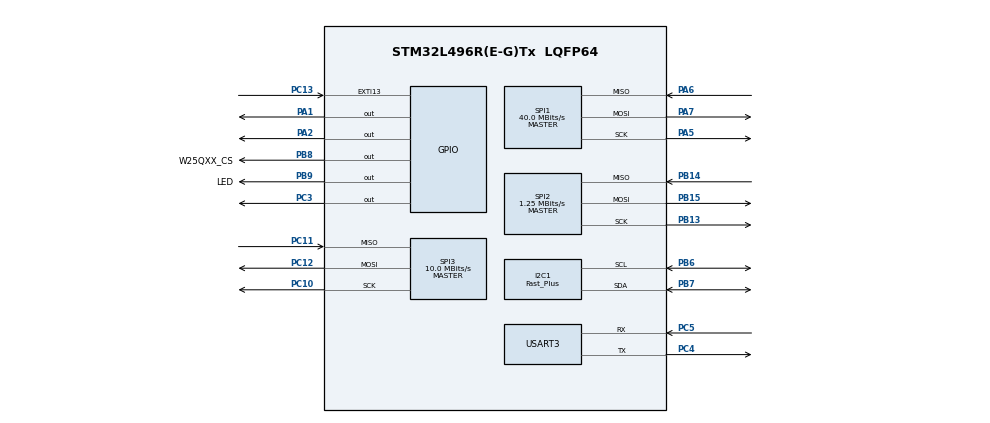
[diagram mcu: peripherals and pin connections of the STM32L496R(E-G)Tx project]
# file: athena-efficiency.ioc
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Dma.I2C1_RX.0.Direction=DMA_PERIPH_TO_MEMORY
Dma.I2C1_RX.0.Instance=DMA1_Channel7
Dma.I2C1_RX.0.MemDataAlignment=DMA_MDATAALIGN_BYTE
Dma.I2C1_RX.0.MemInc=DMA_MINC_ENABLE
Dma.I2C1_RX.0.Mode=DMA_NORMAL
Dma.I2C1_RX.0.PeriphDataAlignment=DMA_PDATAALIGN_BYTE
Dma.I2C1_RX.0.PeriphInc=DMA_PINC_DISABLE
Dma.I2C1_RX.0.Priority=DMA_PRIORITY_LOW
Dma.I2C1_TX.1.Direction=DMA_MEMORY_TO_PERIPH
Dma.I2C1_TX.1.Instance=DMA1_Channel6
Dma.I2C1_TX.1.MemDataAlignment=DMA_MDATAALIGN_BYTE
Dma.I2C1_TX.1.MemInc=DMA_MINC_ENABLE
Dma.I2C1_TX.1.Mode=DMA_NORMAL
Dma.I2C1_TX.1.PeriphDataAlignment=DMA_PDATAALIGN_BYTE
Dma.I2C1_TX.1.PeriphInc=DMA_PINC_DISABLE
Dma.I2C1_TX.1.Priority=DMA_PRIORITY_LOW
Dma.Request0=I2C1_RX
Dma.Request1=I2C1_TX
Dma.Request2=SPI2_RX
Dma.Request3=SPI2_TX
Dma.Request4=SPI1_TX
Dma.Request5=SPI1_RX
Dma.Request6=SPI3_RX
Dma.Request7=SPI3_TX
Dma.Request8=USART3_RX
Dma.Request9=USART3_TX
Dma.SPI1_RX.5.Direction=DMA_PERIPH_TO_MEMORY
Dma.SPI1_RX.5.Instance=DMA2_Channel3
Dma.SPI1_RX.5.MemDataAlignment=DMA_MDATAALIGN_BYTE
Dma.SPI1_RX.5.MemInc=DMA_MINC_ENABLE
Dma.SPI1_RX.5.Mode=DMA_NORMAL
Dma.SPI1_RX.5.PeriphDataAlignment=DMA_PDATAALIGN_BYTE
Dma.SPI1_RX.5.PeriphInc=DMA_PINC_DISABLE
Dma.SPI1_RX.5.Priority=DMA_PRIORITY_LOW
Dma.SPI1_TX.4.Direction=DMA_MEMORY_TO_PERIPH
Dma.SPI1_TX.4.Instance=DMA2_Channel4
Dma.SPI1_TX.4.MemDataAlignment=DMA_MDATAALIGN_BYTE
Dma.SPI1_TX.4.MemInc=DMA_MINC_ENABLE
Dma.SPI1_TX.4.Mode=DMA_NORMAL
Dma.SPI1_TX.4.PeriphDataAlignment=DMA_PDATAALIGN_BYTE
Dma.SPI1_TX.4.PeriphInc=DMA_PINC_DISABLE
Dma.SPI1_TX.4.Priority=DMA_PRIORITY_LOW
Dma.SPI2_RX.2.Direction=DMA_PERIPH_TO_MEMORY
Dma.SPI2_RX.2.Instance=DMA1_Channel4
Dma.SPI2_RX.2.MemDataAlignment=DMA_MDATAALIGN_BYTE
Dma.SPI2_RX.2.MemInc=DMA_MINC_ENABLE
Dma.SPI2_RX.2.Mode=DMA_NORMAL
Dma.SPI2_RX.2.PeriphDataAlignment=DMA_PDATAALIGN_BYTE
Dma.SPI2_RX.2.PeriphInc=DMA_PINC_DISABLE
Dma.SPI2_RX.2.Priority=DMA_PRIORITY_LOW
Dma.SPI2_TX.3.Direction=DMA_MEMORY_TO_PERIPH
Dma.SPI2_TX.3.Instance=DMA1_Channel5
Dma.SPI2_TX.3.MemDataAlignment=DMA_MDATAALIGN_BYTE
Dma.SPI2_TX.3.MemInc=DMA_MINC_ENABLE
Dma.SPI2_TX.3.Mode=DMA_NORMAL
Dma.SPI2_TX.3.PeriphDataAlignment=DMA_PDATAALIGN_BYTE
Dma.SPI2_TX.3.PeriphInc=DMA_PINC_DISABLE
Dma.SPI2_TX.3.Priority=DMA_PRIORITY_LOW
Dma.SPI3_RX.6.Direction=DMA_PERIPH_TO_MEMORY
Dma.SPI3_RX.6.Instance=DMA2_Channel1
Dma.SPI3_RX.6.MemDataAlignment=DMA_MDATAALIGN_BYTE
Dma.SPI3_RX.6.MemInc=DMA_MINC_ENABLE
Dma.SPI3_RX.6.Mode=DMA_NORMAL
Dma.SPI3_RX.6.PeriphDataAlignment=DMA_PDATAALIGN_BYTE
Dma.SPI3_RX.6.PeriphInc=DMA_PINC_DISABLE
Dma.SPI3_RX.6.Priority=DMA_PRIORITY_LOW
Dma.SPI3_TX.7.Direction=DMA_MEMORY_TO_PERIPH
Dma.SPI3_TX.7.Instance=DMA2_Channel2
Dma.SPI3_TX.7.MemDataAlignment=DMA_MDATAALIGN_BYTE
Dma.SPI3_TX.7.MemInc=DMA_MINC_ENABLE
Dma.SPI3_TX.7.Mode=DMA_NORMAL
Dma.SPI3_TX.7.PeriphDataAlignment=DMA_PDATAALIGN_BYTE
Dma.SPI3_TX.7.PeriphInc=DMA_PINC_DISABLE
Dma.SPI3_TX.7.Priority=DMA_PRIORITY_LOW
Dma.USART3_RX.8.Direction=DMA_PERIPH_TO_MEMORY
Dma.USART3_RX.8.Instance=DMA1_Channel3
Dma.USART3_RX.8.MemDataAlignment=DMA_MDATAALIGN_BYTE
Dma.USART3_RX.8.MemInc=DMA_MINC_ENABLE
Dma.USART3_RX.8.Mode=DMA_NORMAL
Dma.USART3_RX.8.PeriphDataAlignment=DMA_PDATAALIGN_BYTE
Dma.USART3_RX.8.PeriphInc=DMA_PINC_DISABLE
Dma.USART3_RX.8.Priority=DMA_PRIORITY_LOW
Dma.USART3_TX.9.Direction=DMA_MEMORY_TO_PERIPH
Dma.USART3_TX.9.Instance=DMA1_Channel2
Dma.USART3_TX.9.MemDataAlignment=DMA_MDATAALIGN_BYTE
Dma.USART3_TX.9.MemInc=DMA_MINC_ENABLE
Dma.USART3_TX.9.Mode=DMA_NORMAL
Dma.USART3_TX.9.PeriphDataAlignment=DMA_PDATAALIGN_BYTE
Dma.USART3_TX.9.PeriphInc=DMA_PINC_DISABLE
Dma.USART3_TX.9.Priority=DMA_PRIORITY_LOW
FREERTOS.Tasks01=defaultTask,24,128,StartDefaultTask,Default,NULL,Dynamic,NULL,NULL
FREERTOS.configENABLE_FPU=1
FREERTOS.configUSE_NEWLIB_REENTRANT=1
I2C1.GeneralCallMode=I2C_GENERALCALL_ENABLE
I2C1.I2C_Speed_Mode=I2C_Fast_Plus
I2C1.NoStretchMode=I2C_NOSTRETCH_DISABLE
I2C1.Timing=0x00300F33
Mcu.Family=STM32L4
Mcu.Name=STM32L496R(E-G)Tx
Mcu.Package=LQFP64
NVIC.DMA1_Channel2_IRQn=true\:5\:0\:false\:false\:true\:true\:false\:true\:true
NVIC.DMA1_Channel3_IRQn=true\:5\:0\:false\:false\:true\:true\:false\:true\:true
NVIC.DMA1_Channel4_IRQn=true\:5\:0\:false\:false\:true\:true\:false\:true\:true
NVIC.DMA1_Channel5_IRQn=true\:5\:0\:false\:false\:true\:true\:false\:true\:true
NVIC.DMA1_Channel6_IRQn=true\:5\:0\:false\:false\:true\:true\:false\:true\:true
NVIC.DMA1_Channel7_IRQn=true\:5\:0\:false\:false\:true\:true\:false\:true\:true
NVIC.DMA2_Channel1_IRQn=true\:5\:0\:false\:false\:true\:true\:false\:true\:true
NVIC.DMA2_Channel2_IRQn=true\:5\:0\:false\:false\:true\:true\:false\:true\:true
NVIC.DMA2_Channel3_IRQn=true\:5\:0\:false\:false\:true\:true\:false\:true\:true
NVIC.DMA2_Channel4_IRQn=true\:5\:0\:false\:false\:true\:true\:false\:true\:true
NVIC.EXTI15_10_IRQn=true\:5\:0\:false\:false\:true\:true\:true\:true\:true
NVIC.I2C1_ER_IRQn=true\:5\:0\:false\:false\:true\:true\:true\:true\:true
NVIC.I2C1_EV_IRQn=true\:5\:0\:false\:false\:true\:true\:true\:true\:true
NVIC.PriorityGroup=NVIC_PRIORITYGROUP_4
NVIC.SPI2_IRQn=true\:5\:0\:false\:false\:true\:true\:true\:true\:true
NVIC.SPI3_IRQn=true\:5\:0\:false\:false\:true\:true\:true\:true\:true
NVIC.USART3_IRQn=true\:5\:0\:false\:false\:true\:true\:true\:true\:true
PA1.GPIO_PuPd=GPIO_PULLUP
PA1.GPIO_Speed=GPIO_SPEED_FREQ_MEDIUM
PA1.PinState=GPIO_PIN_SET
PA1.Signal=GPIO_Output
PA13\ (JTMS/SWDIO).Mode=Trace_Asynchronous_SW
PA13\ (JTMS/SWDIO).Signal=SYS_JTMS-SWDIO
PA14\ (JTCK/SWCLK).Mode=Trace_Asynchronous_SW
PA14\ (JTCK/SWCLK).Signal=SYS_JTCK-SWCLK
PA2.Signal=GPIO_Output
PA5.Mode=Full_Duplex_Master
PA5.Signal=SPI1_SCK
PA6.Mode=Full_Duplex_Master
PA6.Signal=SPI1_MISO
PA7.Mode=Full_Duplex_Master
PA7.Signal=SPI1_MOSI
PB13.Mode=Full_Duplex_Master
PB13.Signal=SPI2_SCK
PB14.Mode=Full_Duplex_Master
PB14.Signal=SPI2_MISO
PB15.Mode=Full_Duplex_Master
PB15.Signal=SPI2_MOSI
PB3\ (JTDO/TRACESWO).Mode=Trace_Asynchronous_SW
PB3\ (JTDO/TRACESWO).Signal=SYS_JTDO-SWO
PB6.Mode=I2C
PB6.Signal=I2C1_SCL
PB7.Mode=I2C
PB7.Signal=I2C1_SDA
PB8.GPIO_Label=W25QXX_CS
PB8.GPIO_PuPd=GPIO_PULLUP
PB8.GPIO_Speed=GPIO_SPEED_FREQ_HIGH
PB8.PinState=GPIO_PIN_SET
PB8.Signal=GPIO_Output
PB9.GPIO_Label=LED
PB9.GPIO_Speed=GPIO_SPEED_FREQ_HIGH
PB9.PinState=GPIO_PIN_RESET
PB9.Signal=GPIO_Output
PC10.Mode=Full_Duplex_Master
PC10.Signal=SPI3_SCK
PC11.Mode=Full_Duplex_Master
PC11.Signal=SPI3_MISO
PC12.Mode=Full_Duplex_Master
PC12.Signal=SPI3_MOSI
PC13.GPIO_PuPd=GPIO_PULLUP
PC13.Signal=GPXTI13
PC3.GPIO_Speed=GPIO_SPEED_FREQ_MEDIUM
PC3.Signal=GPIO_Output
PC4.Mode=Asynchronous
PC4.Signal=USART3_TX
PC5.Mode=Asynchronous
PC5.Signal=USART3_RX
PH0-OSC_IN\ (PH0).Mode=HSE-External-Oscillator
PH0-OSC_IN\ (PH0).Signal=RCC_OSC_IN
PH1-OSC_OUT\ (PH1).Mode=HSE-External-Oscillator
PH1-OSC_OUT\ (PH1).Signal=RCC_OSC_OUT
ProjectManager.HeapSize=0x200
ProjectManager.StackSize=0x400
ProjectManager.TargetToolchain=STM32CubeIDE
RCC.ADCFreq_Value=32000000
RCC.AHBFreq_Value=80000000
RCC.APB1Freq_Value=80000000
RCC.APB1TimFreq_Value=80000000
RCC.APB2Freq_Value=80000000
RCC.APB2TimFreq_Value=80000000
RCC.CortexFreq_Value=80000000
RCC.HCLKFreq_Value=80000000
RCC.HSE_VALUE=8000000
RCC.HSI48_VALUE=48000000
RCC.HSI_VALUE=16000000
RCC.LSE_VALUE=32768
RCC.MSI_VALUE=4000000
RCC.PLLN=20
RCC.PLLSourceVirtual=RCC_PLLSOURCE_HSE
RCC.SYSCLKFreq_VALUE=80000000
RCC.SYSCLKSource=RCC_SYSCLKSOURCE_PLLCLK
RCC.USBFreq_Value=32000000
RCC.VCOOutputFreq_Value=160000000
RCC.VDD_VALUE=3
SPI1.CalculateBaudRate=40.0 MBits/s
SPI1.Direction=SPI_DIRECTION_2LINES
SPI1.Mode=SPI_MODE_MASTER
SPI1.VirtualType=VM_MASTER
SPI2.BaudRatePrescaler=SPI_BAUDRATEPRESCALER_64
SPI2.CLKPhase=SPI_PHASE_1EDGE
SPI2.CRCCalculation=SPI_CRCCALCULATION_DISABLE
SPI2.CalculateBaudRate=1.25 MBits/s
SPI2.DataSize=SPI_DATASIZE_8BIT
SPI2.Direction=SPI_DIRECTION_2LINES
SPI2.Mode=SPI_MODE_MASTER
SPI2.VirtualType=VM_MASTER
SPI3.BaudRatePrescaler=SPI_BAUDRATEPRESCALER_8
SPI3.CalculateBaudRate=10.0 MBits/s
SPI3.DataSize=SPI_DATASIZE_8BIT
SPI3.Direction=SPI_DIRECTION_2LINES
SPI3.Mode=SPI_MODE_MASTER
SPI3.VirtualType=VM_MASTER
USART3.VirtualMode-Asynchronous=VM_ASYNC
VP_FREERTOS_VS_CMSIS_V2.Mode=CMSIS_V2
board=custom

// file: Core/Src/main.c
/* USER CODE BEGIN Header */
/**
  ******************************************************************************
  * @file           : main.c
  * @brief          : Main program body
  ******************************************************************************
  * @attention
  *
  * Copyright (c) 2024 STMicroelectronics.
  * All rights reserved.
  *
  * This software is licensed under terms that can be found in the LICENSE file
  * in the root directory of this software component.
  * If no LICENSE file comes with this software, it is provided AS-IS.
  *
  ******************************************************************************
  */
/* USER CODE END Header */
#include "main.h"
#include "cmsis_os.h"
#include "dma.h"
#include "i2c.h"
#include "spi.h"
#include "usart.h"
#include "gpio.h"

void SystemClock_Config(void);
void MX_FREERTOS_Init(void);

/* USER CODE BEGIN 0 */
uint32_t led_flash_in_rpm = 50;
/* USER CODE END 0 */

int main(void)
{

  /* MCU Configuration--------------------------------------------------------*/

  /* Reset of all peripherals, Initializes the Flash interface and the Systick. */
  HAL_Init();

  /* Configure the system clock */
  SystemClock_Config();

  /* Initialize all configured peripherals */
  MX_GPIO_Init();
  MX_DMA_Init();
  MX_I2C1_Init();
  MX_SPI3_Init();
  MX_SPI2_Init();
  MX_SPI1_Init();
  MX_USART3_UART_Init();

  /* Init scheduler */
  osKernelInitialize();

  /* Call init function for freertos objects (in cmsis_os2.c) */
  MX_FREERTOS_Init();

  /* Start scheduler */
  osKernelStart();

  /* We should never get here as control is now taken by the scheduler */

  /* Infinite loop */
  while (1)
  {

  }
}

void SystemClock_Config(void)
{
  LL_FLASH_SetLatency(LL_FLASH_LATENCY_4);
  while(LL_FLASH_GetLatency()!= LL_FLASH_LATENCY_4)
  {
  }
  LL_PWR_SetRegulVoltageScaling(LL_PWR_REGU_VOLTAGE_SCALE1);
  while (LL_PWR_IsActiveFlag_VOS() != 0)
  {
  }
  LL_RCC_HSE_Enable();

   /* Wait till HSE is ready */
  while(LL_RCC_HSE_IsReady() != 1)
  {

  }
  LL_RCC_PLL_ConfigDomain_SYS(LL_RCC_PLLSOURCE_HSE, LL_RCC_PLLM_DIV_1, 20, LL_RCC_PLLR_DIV_2);
  LL_RCC_PLL_EnableDomain_SYS();
  LL_RCC_PLL_Enable();

   /* Wait till PLL is ready */
  while(LL_RCC_PLL_IsReady() != 1)
  {

  }
  LL_RCC_SetSysClkSource(LL_RCC_SYS_CLKSOURCE_PLL);

   /* Wait till System clock is ready */
  while(LL_RCC_GetSysClkSource() != LL_RCC_SYS_CLKSOURCE_STATUS_PLL)
  {

  }
  LL_RCC_SetAHBPrescaler(LL_RCC_SYSCLK_DIV_1);
  LL_RCC_SetAPB1Prescaler(LL_RCC_APB1_DIV_1);
  LL_RCC_SetAPB2Prescaler(LL_RCC_APB2_DIV_1);
  LL_SetSystemCoreClock(80000000);

   /* Update the time base */
  if (HAL_InitTick (TICK_INT_PRIORITY) != HAL_OK)
  {
    Error_Handler();
  }
}

void Error_Handler(void)
{
  __disable_irq();
  while (1)
  {
  }
}

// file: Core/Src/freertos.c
/* USER CODE BEGIN Header */
/**
  ******************************************************************************
  * File Name          : freertos.c
  * Description        : Code for freertos applications
  ******************************************************************************
  * @attention
  *
  * Copyright (c) 2024 STMicroelectronics.
  * All rights reserved.
  *
  * This software is licensed under terms that can be found in the LICENSE file
  * in the root directory of this software component.
  * If no LICENSE file comes with this software, it is provided AS-IS.
  *
  ******************************************************************************
  */
/* USER CODE END Header */

#include "FreeRTOS.h"
#include "task.h"
#include "main.h"
#include "cmsis_os.h"

/* USER CODE BEGIN Includes */
#include "i2c_drv.h"
#include "spi_drv.h"
#include "tca6408a.h"
#include "vl53l5cx_api.h"
#include "test_tof.h"
#include "calibration.h"
#include "w25q64_ll.h"
#include "libdw3000.h"
#include "dw3000.h"
#include "dwTypes.h"
#include "dw3000_cbll.h"
#include "adhocuwb.h"
#include "uart_receive.h"

/* USER CODE END Includes */

/* USER CODE BEGIN PTD */
SemaphoreHandle_t txComplete = NULL;
SemaphoreHandle_t rxComplete = NULL;
SemaphoreHandle_t spiMutex = NULL;
SemaphoreHandle_t UartRxReady = NULL;
SemaphoreHandle_t spiDeckTxComplete = NULL;
SemaphoreHandle_t spiDeckRxComplete = NULL;
SemaphoreHandle_t spiDeckMutex = NULL;
SemaphoreHandle_t uwbIrqSemaphore = NULL;
uint8_t uwbdata_tx[260];
static uint8_t Pos[26];
static uint8_t Pos_new[17];
static float para[4];
static float padX = 0.0;
static float padY = 0.0;
static float padZ = 0.0;
//拔尖基地展示
float datas_f[6];

//拔尖基地展示
void initData(){
        for(int i=0;i<6;i++){
                datas_f[i]=1.0f;
        }
}
int spi_deck_init(void)
{
  spiDeckTxComplete = xSemaphoreCreateBinary();
  spiDeckRxComplete = xSemaphoreCreateBinary();
  spiDeckMutex = xSemaphoreCreateMutex();
  uwbIrqSemaphore = xSemaphoreCreateMutex();

	if (spiDeckTxComplete == NULL || spiDeckRxComplete == NULL || spiDeckMutex == NULL || uwbIrqSemaphore == NULL)
	{
	    while (1);
	}

  return 0;
}

/* USER CODE END PTD */

/* USER CODE BEGIN Variables */
osThreadId_t ledTaskHandle;
const osThreadAttr_t ledTask_attributes = {
  .name = "ledTask",
  .stack_size = 128 * 2,
  .priority = (osPriority_t) osPriorityNormal,
};
osThreadId_t uwbTaskHandle;
const osThreadAttr_t uwbTask_attributes = {
  .name = "uwbTask",
  .stack_size = 2 * UWB_FRAME_LEN_MAX * sizeof(StackType_t), //TODO: check whether this works
  .priority = (osPriority_t) osPriorityNormal,
};
osThreadId_t uwbISRTaskHandle;
/* USER CODE END Variables */
/* Definitions for defaultTask */
osThreadId_t defaultTaskHandle;
const osThreadAttr_t defaultTask_attributes = {
  .name = "defaultTask",
  .stack_size = 128 * 4,
  .priority = (osPriority_t) osPriorityNormal,
};

/* USER CODE BEGIN FunctionPrototypes */
static void ledTask(void *argument);
static void uwbTask(void *argument);

/* USER CODE END FunctionPrototypes */

void StartDefaultTask(void *argument);

void MX_FREERTOS_Init(void); /* (MISRA C 2004 rule 8.1) */

void para_get()
{
  padX = para[0];
  padY = para[1];
  padZ = para[2];
}

void para_reget()
{
  para[0] = padX;
  para[1] = padY;
  para[2] = padZ;
}

void compute()
{
	switch(Pos[24])
	{
	case 0:
		//add more control 1up 0down
		if(Pos[25])
		{
			padZ = 0.3f;
			Pos_new[16] = 1;
		}
		else
		{
			Pos_new[16] = 0;
		}
		break;
	case 1:
		if(Pos[25])
		{
			Pos_new[16] = 2;
		}
		else
		{
			padZ = 0.3f;
			Pos_new[16] = 3;
		}
		break;
	}
}

void MX_FREERTOS_Init(void) {
  /* USER CODE BEGIN Init */
	txComplete = xSemaphoreCreateBinary();
	rxComplete = xSemaphoreCreateBinary();
	spiMutex = xSemaphoreCreateMutex();
	UartRxReady = xSemaphoreCreateBinary();

	if (txComplete == NULL || rxComplete == NULL || spiMutex == NULL)
	{
	    while (1);
	}
	spi_deck_init();

  /* USER CODE END Init */

  /* Create the thread(s) */
  /* creation of defaultTask */
  defaultTaskHandle = osThreadNew(StartDefaultTask, NULL, &defaultTask_attributes);

  /* USER CODE BEGIN RTOS_THREADS */
  /* add threads, ... */
  ledTaskHandle = osThreadNew(ledTask, NULL, &ledTask_attributes);
  uwbTaskHandle = osThreadNew(uwbTask, NULL, &uwbTask_attributes);
  /* USER CODE END RTOS_THREADS */

}

void StartDefaultTask(void *argument)
{
  /* USER CODE BEGIN StartDefaultTask */
  /* Infinite loop */
//	static uint8_t w25qID;
//	BSP_W25Qx_Read_ID(&w25qID);

	  uint8_t index = 0;
	  while(1)
	  {
		  if (xSemaphoreTake(UartRxReady, 0) == pdPASS) {

			  while (index < 26 && xQueueReceive(UartRxQueue, &Pos[index], 0) == pdPASS) {
					  index++;
			  }
			  if(index == 26)
			  {
	        memcpy(para, (float *)Pos, 16);
	        para_get();
	        compute();
	        para_reget();
	        memcpy(Pos_new, (uint8_t *)para, 16);
			UART_DMA_Transmit(Pos_new, 17);
			index=0;
			  }
		  }
		  vTaskDelay(1);
	  }
//	  BSP_W25Qx_Init();
//	  uint8_t ID[2]={0};
//	  BSP_W25Qx_Read_ID(ID);
//	  //BSP_W25Qx_Erase_Chip();
//	  BSP_W25Qx_Erase_Block(0x123456);
//	  uint8_t tx_data[128] = {0xef};
//	  uint8_t rx_data[128] = {0x00};
//	  BSP_W25Qx_Write(tx_data, 0x123456, 128);
//	  BSP_W25Qx_Read(rx_data, 0x123456, 4);
//	  BSP_W25Qx_Erase_Block(0x123456);
//	  BSP_W25Qx_Read(rx_data, 0x123456, 4);
//
//	  uint8_t ID[4];
//	  I2C_expander_initialize();
//	  initialize_sensors_I2C(&vl53l5dev_f,1);
//	  vl53l5cx_start_ranging(&vl53l5dev_f);
//	  while(1){
//		  LL_GPIO_TogglePin(GPIOB, LL_GPIO_PIN_9);
//	  	  LL_mDelay(100);
//	  	  get_sensor_data(&vl53l5dev_f, &vl53l5_res_f);
//	  }
//  }
  /* USER CODE END StartDefaultTask */
}

/* USER CODE BEGIN Application */

void simple_txCallback(void *argument) {
	return;
}

void simple_rxCallback(void *argument) {
	uint8_t *packet = (uint8_t *) argument;
	return;
}

static void uwbTask(void *argument)
{
	int result = 0;
	led_flash_in_rpm = 750;

	// reset dw3000 chip
	dwt_ops.reset(); // this is not necessary

	// prepare the interrupt service routines task
	uwbISRTaskHandle = osThreadNew(uwbISRTask, NULL, &uwbTask_attributes);
	vTaskDelay(8); // wait for the uwbISRTask to start to handle ISR

	// init the dw3000 chip, get ready to rx and rx
	result = dw3000_init();

	// set the tx and rx callback functions
//	adhocuwb_set_hdw_cbs(simple_txCallback, simple_rxCallback);

	// set the chip in listening mode, rxcallback should be invoked once a packet is received.
	// you should see the RX led flashes at the UWB Deck
	adhocuwb_hdw_force_rx();

	vTaskDelay(1000);

	// transmit data with length, txcallback should be invoked once tx success
	// you should see the TX led flashes at the UWB Deck
//	uint8_t uwbdata_tx[32] = {0x1, 0x2, 0x3, 0x4, 0x5, 0x6, 0x7, 0x8, 0x9, 0xA, 0xB, 0xC};

	for(int i=0;i<259;i++){
		uwbdata_tx[i] = i;
	}

//	result = adhocuwb_hdw_send(uwbdata_tx, 240);

	/*============ the above code need only support from BSP/Components/DW3000 =============*/

	vTaskDelay(1000);

	/*============  the following code need additional support from AdHocUWB   =============*/
	adhocuwbInit();

	// loop forever
	while(1)
	{
//		result = adhocuwb_hdw_send(uwbdata_tx, 30);
//		result = adhocuwb_hdw_send(uwbdata_tx, 250);
      vTaskDelay(2000);
	}
}

static void ledTask(void *argument)
{
  while(1)
  {
	LL_GPIO_TogglePin(LED_GPIO_Port, LED_Pin);
	vTaskDelay(30000 / led_flash_in_rpm);
  }
}
/* USER CODE END Application */
